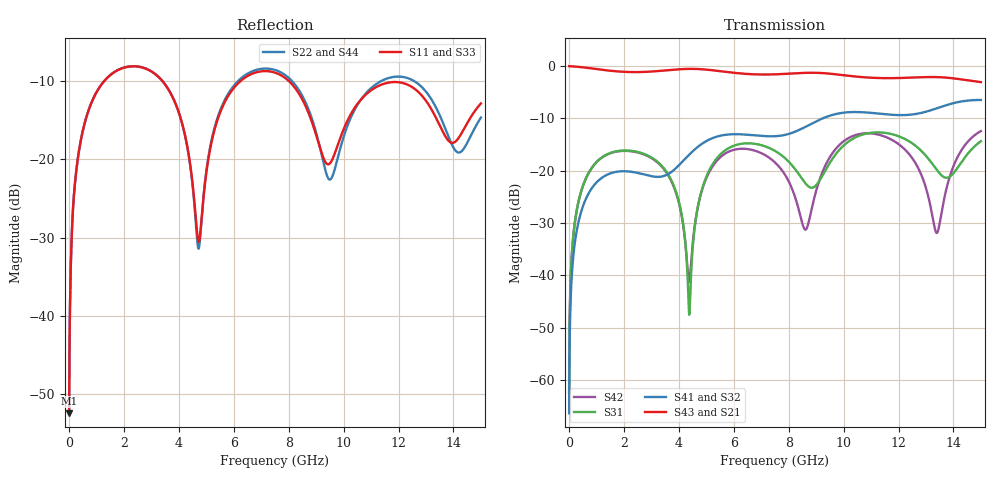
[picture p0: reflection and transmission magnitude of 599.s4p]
! Created with skrf 1.8.0 (http://scikit-rf.org).
# GHz S RI R 50.0
!freq ReS11 ImS11 ReS12 ImS12 ReS13 ImS13
! ReS14 ImS14
! ReS21 ImS21 ReS22 ImS22 ReS23 ImS23
! ReS24 ImS24
! ReS31 ImS31 ReS32 ImS32 ReS33 ImS33
! ReS34 ImS34
! ReS41 ImS41 ReS42 ImS42 ReS43 ImS43
! ReS44 ImS44
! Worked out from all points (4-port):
!   2499 points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, 5 MHz to 15 GHz, reference 50 ohm
!   strongest paths, dB at 5 MHz, 3.476 GHz, 7.19 GHz, 11.1 GHz, 15 GHz:
!     S43: 0.0, -0.8, -1.6, -2.2, -3.1
!     S21: 0.0, -0.8, -1.6, -2.3, -3.0
!     S41: -66.4, -21.0, -13.4, -9.0, -6.5
!     S32: -66.4, -21.0, -13.5, -9.1, -6.5
!     S31: -62.4, -19.7, -15.4, -12.7, -14.4
!     S42: -62.4, -19.8, -17.2, -12.9, -12.4
!   lowest |S11| = -52.5 dB at 5 MHz (marker M1), VSWR 1.00, Z = 50.2 + j0.145 ohm
!   |S11| at or under -10 dB: start of sweep to 1.284 GHz; 3.401 GHz to 6.247 GHz (2.846 GHz wide, 59 % of centre); 8.006 GHz to end of sweep
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0.005  0.0019 0.00144  0.9981 -0.00369  9.61e-05 0.00075  -9.33e-05 -0.000471
       0.9981 -0.00369  0.0019 0.00144  -9.33e-05 -0.000471  9.6e-05 0.00075
       9.61e-05 0.00075  -9.33e-05 -0.000471  0.0019 0.00144  0.9981 -0.00369
       -9.33e-05 -0.000471  9.6e-05 0.00075  0.9981 -0.00369  0.0019 0.00144
0.3126303  0.0308 0.0935  0.9578 -0.2283  0.0145 0.0436  -0.0119 -0.0269
           0.9578 -0.2283  0.0308 0.0935  -0.0119 -0.0269  0.0142 0.0437
           0.0145 0.0436  -0.0119 -0.0269  0.0308 0.0935  0.9578 -0.2283
           -0.0119 -0.0269  0.0142 0.0437  0.9578 -0.2283  0.0308 0.0935
1.369321  0.2772 0.1758  0.5339 -0.7377  0.1306 0.0574  -0.091 -0.00369
          0.5339 -0.7377  0.2781 0.1752  -0.0908 -0.00385  0.1284 0.0604
          0.1306 0.0574  -0.0908 -0.00385  0.2773 0.1758  0.5339 -0.7377
          -0.091 -0.00369  0.1284 0.0604  0.5339 -0.7377  0.278 0.1753
4.383076  0.049 -0.0882  -0.8955 -0.2859  -0.00419 0.000251  -0.0382 0.1377
          -0.8955 -0.2859  0.0457 -0.0887  -0.0406 0.137  -0.00873 0.00023
          -0.00419 0.000251  -0.0406 0.137  0.0485 -0.0889  -0.8954 -0.2861
          -0.0382 0.1377  -0.00873 0.00023  -0.8954 -0.2861  0.0466 -0.0889
5.539808  0.1381 0.1532  -0.7852 0.4223  0.1207 0.0811  0.1329 0.1713
          -0.7852 0.4223  0.1424 0.158  0.1298 0.1731  0.0989 0.0943
          0.1207 0.0811  0.1298 0.1731  0.1375 0.153  -0.7855 0.4221
          0.1329 0.1713  0.0989 0.0943  -0.7855 0.4221  0.1421 0.1565
9.510213  0.0943 0.0061  0.8394 0.1017  -0.016 0.1193  0.0271 -0.3353
          0.8394 0.1017  0.074 -0.00625  0.0369 -0.3341  0.0102 0.1358
          -0.016 0.1193  0.0369 -0.3341  0.0949 0.0082  0.8395 0.1013
          0.0271 -0.3353  0.0102 0.1358  0.8395 0.1013  0.0726 -0.0072
15  0.214 0.0769  -0.6822 0.1735  0.1197 0.1495  0.1844 0.4373
    -0.6822 0.1735  0.1751 0.0587  0.163 0.4434  0.1746 0.1634
    0.1197 0.1495  0.163 0.4434  0.2183 0.0874  -0.6805 0.1758
    0.1844 0.4373  0.1746 0.1634  -0.6805 0.1758  0.1729 0.0601
